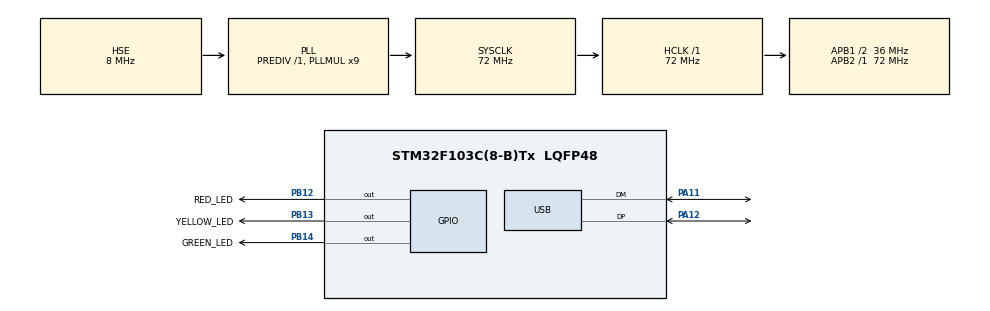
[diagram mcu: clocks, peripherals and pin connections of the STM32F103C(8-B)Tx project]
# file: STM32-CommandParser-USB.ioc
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Mcu.Family=STM32F1
Mcu.Name=STM32F103C(8-B)Tx
Mcu.Package=LQFP48
NVIC.PriorityGroup=NVIC_PRIORITYGROUP_4
NVIC.USB_LP_CAN1_RX0_IRQn=true\:0\:0\:false\:false\:true\:false\:true\:true
PA11.Mode=Device
PA11.Signal=USB_DM
PA12.Mode=Device
PA12.Signal=USB_DP
PA13.Mode=Serial_Wire
PA13.Signal=SYS_JTMS-SWDIO
PA14.Mode=Serial_Wire
PA14.Signal=SYS_JTCK-SWCLK
PB12.GPIO_Label=RED_LED
PB12.Signal=GPIO_Output
PB13.GPIO_Label=YELLOW_LED
PB13.Signal=GPIO_Output
PB14.GPIO_Label=GREEN_LED
PB14.Signal=GPIO_Output
PD0-OSC_IN.Mode=HSE-External-Oscillator
PD0-OSC_IN.Signal=RCC_OSC_IN
PD1-OSC_OUT.Mode=HSE-External-Oscillator
PD1-OSC_OUT.Signal=RCC_OSC_OUT
ProjectManager.HeapSize=0x200
ProjectManager.StackSize=0x400
ProjectManager.TargetToolchain=STM32CubeIDE
RCC.AHBFreq_Value=72000000
RCC.APB1CLKDivider=RCC_HCLK_DIV2
RCC.APB1Freq_Value=36000000
RCC.APB1TimFreq_Value=72000000
RCC.APB2Freq_Value=72000000
RCC.APB2TimFreq_Value=72000000
RCC.HCLKFreq_Value=72000000
RCC.PLLMUL=RCC_PLL_MUL9
RCC.SYSCLKFreq_VALUE=72000000
RCC.SYSCLKSource=RCC_SYSCLKSOURCE_PLLCLK
RCC.USBFreq_Value=48000000
RCC.USBPrescaler=RCC_USBCLKSOURCE_PLL_DIV1_5
USB_DEVICE.CLASS_NAME_FS=CDC
USB_DEVICE.VirtualMode=Cdc
USB_DEVICE.VirtualModeFS=Cdc_FS
VP_USB_DEVICE_VS_USB_DEVICE_CDC_FS.Mode=CDC_FS
board=custom

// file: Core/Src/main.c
/* USER CODE BEGIN Header */
/**
  ******************************************************************************
  * @file           : main.c
  * @brief          : Main program body
  ******************************************************************************
  * @attention
  *
  * Copyright (c) 2025 STMicroelectronics.
  * All rights reserved.
  *
  * This software is licensed under terms that can be found in the LICENSE file
  * in the root directory of this software component.
  * If no LICENSE file comes with this software, it is provided AS-IS.
  *
  ******************************************************************************
  */
/* USER CODE END Header */
#include "main.h"
#include "usb_device.h"
#include "usbd_cdc_if.h"

void SystemClock_Config(void);
static void MX_GPIO_Init(void);

int main(void)
{

  /* MCU Configuration--------------------------------------------------------*/

  /* Reset of all peripherals, Initializes the Flash interface and the Systick. */
  HAL_Init();

  /* Configure the system clock */
  SystemClock_Config();

  /* Initialize all configured peripherals */
  MX_GPIO_Init();
  MX_USB_DEVICE_Init();
  /* USER CODE BEGIN 2 */
  int opt = 0;
  /* USER CODE END 2 */

  /* Infinite loop */
  while (1)
  {

    /* USER CODE BEGIN 3 */
	  if (USB_Rx_Ready){
		  USB_Rx_Ready = 0;

		  opt = atoi((char*)USB_Rx_Buffer);

		  switch(opt){
		  case 1:
			  	  	  HAL_GPIO_WritePin(GPIOB, GREEN_LED_Pin, GPIO_PIN_SET);
			  	  	  break;
		  case 2:
		  			  HAL_GPIO_WritePin(GPIOB, YELLOW_LED_Pin, GPIO_PIN_SET);
		  			  break;
		  case 3:
		  			  HAL_GPIO_WritePin(GPIOB, RED_LED_Pin, GPIO_PIN_SET);
		  			  break;
		  case 4:
		  			  HAL_GPIO_WritePin(GPIOB, GREEN_LED_Pin, GPIO_PIN_RESET);
		  			  break;
		  case 5:
		  			  HAL_GPIO_WritePin(GPIOB, YELLOW_LED_Pin, GPIO_PIN_RESET);
		  			  break;
		  case 6:
		  			  HAL_GPIO_WritePin(GPIOB, RED_LED_Pin, GPIO_PIN_RESET);
		  			  break;
		  }
	  }
  }
  /* USER CODE END 3 */
}

void SystemClock_Config(void)
{
  RCC_OscInitTypeDef RCC_OscInitStruct = {0};
  RCC_ClkInitTypeDef RCC_ClkInitStruct = {0};
  RCC_PeriphCLKInitTypeDef PeriphClkInit = {0};

  /** Initializes the RCC Oscillators according to the specified parameters
  * in the RCC_OscInitTypeDef structure.
  */
  RCC_OscInitStruct.OscillatorType = RCC_OSCILLATORTYPE_HSE;
  RCC_OscInitStruct.HSEState = RCC_HSE_ON;
  RCC_OscInitStruct.HSEPredivValue = RCC_HSE_PREDIV_DIV1;
  RCC_OscInitStruct.HSIState = RCC_HSI_ON;
  RCC_OscInitStruct.PLL.PLLState = RCC_PLL_ON;
  RCC_OscInitStruct.PLL.PLLSource = RCC_PLLSOURCE_HSE;
  RCC_OscInitStruct.PLL.PLLMUL = RCC_PLL_MUL9;
  if (HAL_RCC_OscConfig(&RCC_OscInitStruct) != HAL_OK)
  {
    Error_Handler();
  }

  /** Initializes the CPU, AHB and APB buses clocks
  */
  RCC_ClkInitStruct.ClockType = RCC_CLOCKTYPE_HCLK|RCC_CLOCKTYPE_SYSCLK
                              |RCC_CLOCKTYPE_PCLK1|RCC_CLOCKTYPE_PCLK2;
  RCC_ClkInitStruct.SYSCLKSource = RCC_SYSCLKSOURCE_PLLCLK;
  RCC_ClkInitStruct.AHBCLKDivider = RCC_SYSCLK_DIV1;
  RCC_ClkInitStruct.APB1CLKDivider = RCC_HCLK_DIV2;
  RCC_ClkInitStruct.APB2CLKDivider = RCC_HCLK_DIV1;

  if (HAL_RCC_ClockConfig(&RCC_ClkInitStruct, FLASH_LATENCY_2) != HAL_OK)
  {
    Error_Handler();
  }
  PeriphClkInit.PeriphClockSelection = RCC_PERIPHCLK_USB;
  PeriphClkInit.UsbClockSelection = RCC_USBCLKSOURCE_PLL_DIV1_5;
  if (HAL_RCCEx_PeriphCLKConfig(&PeriphClkInit) != HAL_OK)
  {
    Error_Handler();
  }
}

static void MX_GPIO_Init(void)
{
  GPIO_InitTypeDef GPIO_InitStruct = {0};

  /* GPIO Ports Clock Enable */
  __HAL_RCC_GPIOD_CLK_ENABLE();
  __HAL_RCC_GPIOB_CLK_ENABLE();
  __HAL_RCC_GPIOA_CLK_ENABLE();

  /*Configure GPIO pin Output Level */
  HAL_GPIO_WritePin(GPIOB, RED_LED_Pin|YELLOW_LED_Pin|GREEN_LED_Pin, GPIO_PIN_RESET);

  /*Configure GPIO pins : RED_LED_Pin YELLOW_LED_Pin GREEN_LED_Pin */
  GPIO_InitStruct.Pin = RED_LED_Pin|YELLOW_LED_Pin|GREEN_LED_Pin;
  GPIO_InitStruct.Mode = GPIO_MODE_OUTPUT_PP;
  GPIO_InitStruct.Pull = GPIO_NOPULL;
  GPIO_InitStruct.Speed = GPIO_SPEED_FREQ_LOW;
  HAL_GPIO_Init(GPIOB, &GPIO_InitStruct);

}

void Error_Handler(void)
{
  __disable_irq();
  while (1)
  {
  }
}
